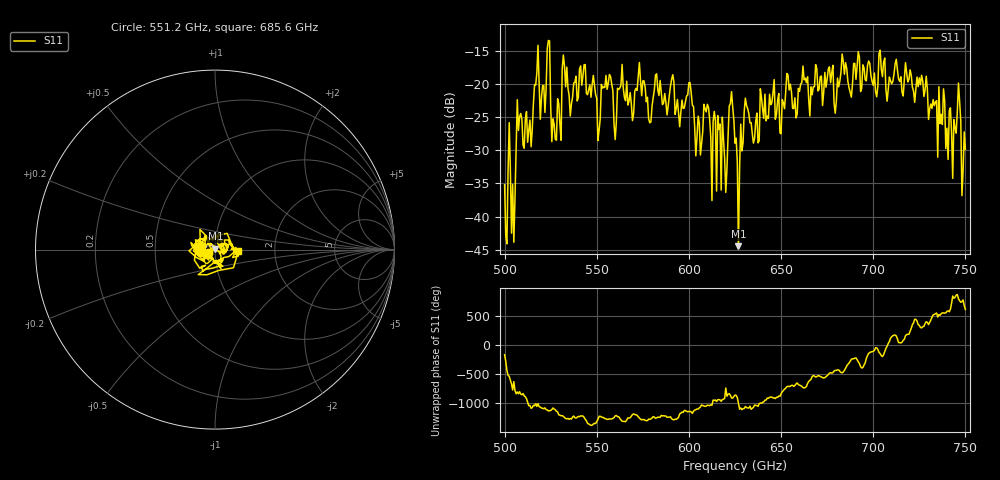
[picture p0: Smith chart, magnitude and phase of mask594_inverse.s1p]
!Created with skrf (http://scikit-rf.org).
# GHz S MA R 50.0
!freq magS11 angS11
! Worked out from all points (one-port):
!   401 points, 500 GHz to 750 GHz, reference 50 ohm
!   lowest |S11| = -44.5 dB at 626.9 GHz (marker M1), VSWR 1.01, Z = 50.2 + j0.558 ohm
!   |S11| at or under -10 dB: start of sweep to end of sweep
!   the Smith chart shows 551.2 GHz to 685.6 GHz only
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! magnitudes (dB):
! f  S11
! 500 GHz  -35.2
! 503.1 GHz  -33.0
! 505 GHz  -43.9
! 507.5 GHz  -27.0
! 513.8 GHz  -25.5
! 517.5 GHz  -18.3
! 520.6 GHz  -20.3
! 523.8 GHz  -13.5
! 526.9 GHz  -26.1
! 531.2 GHz  -17.8
! 542.5 GHz  -18.8
! 550.6 GHz  -28.6
! 562.5 GHz  -20.6
! 593.8 GHz  -22.4
! 600 GHz  -19.8
! 605 GHz  -24.9
! 609.4 GHz  -24.2
! 618.8 GHz  -28.3
! 623.1 GHz  -21.2
! 625 GHz  -28.9
! 626.9 GHz  -44.5
! 631.2 GHz  -23.3
! 656.2 GHz  -23.7
! 687.5 GHz  -21.3
! 718.8 GHz  -19.7
! 741.9 GHz  -23.6
! 746.2 GHz  -19.9
! 750 GHz  -29.9
